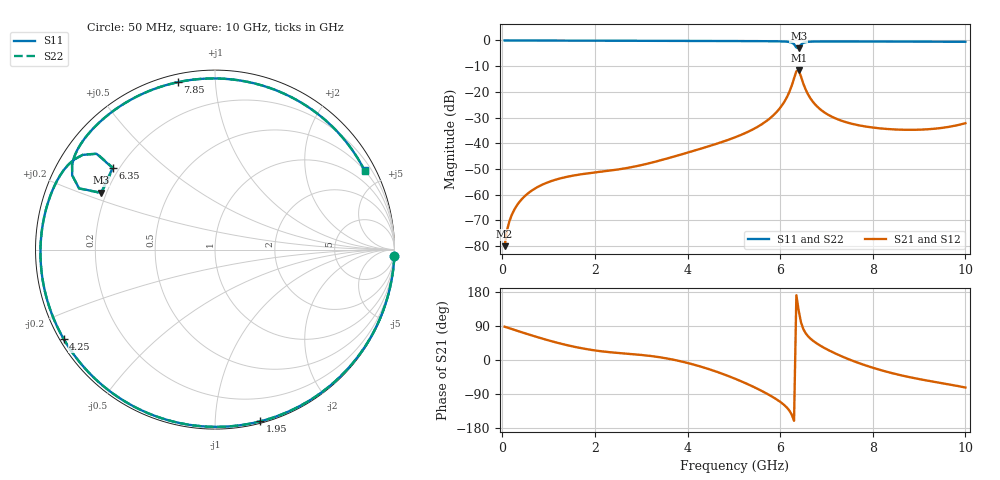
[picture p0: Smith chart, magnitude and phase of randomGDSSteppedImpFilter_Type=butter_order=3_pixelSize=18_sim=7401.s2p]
! freq	dB(S11)	phase(S11)	dB(S12)	phase(S12)
!  dB(S21)	phase(S21)	dB(S22)	phase(S22)
!S-par simulation data
#  GHz  S  DB  R 50
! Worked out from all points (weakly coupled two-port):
!   200 points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, 50 MHz to 10 GHz, reference 50 ohm
!   highest |S21| = -11.62 dB at 6.4 GHz (marker M1); lowest = -80.1 dB at 50 MHz (marker M2)
!   lowest |S11| = -3.0 dB at 6.4 GHz (marker M3), VSWR 5.88, Z = 8.97 + j11.4 ohm
!   |S11| at or under -10 dB: nowhere
!   |S22| runs from -3.0 to 0.0 dB; largest |S21 - S12| = 0
!   S11 on the Smith chart (normalised r, x): 50 MHz: 0, -56; 1.95 GHz: 0.01, -1.30; 4.25 GHz: 0.01, -0.27; 6.35 GHz: 0.18, +0.34; 7.85 GHz: 0.04, +0.80; 10 GHz: 0.50, +3.97
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0.05  -0.00 -2.0  -80.09 87.9  -80.09 87.9  -0.00 -2.0
0.1  -0.00 -4.1  -74.08 85.9  -74.08 85.9  -0.00 -4.1
0.2  -0.01 -8.1  -68.11 81.9  -68.11 81.9  -0.01 -8.1
0.5  -0.03 -20.1  -60.38 70.1  -60.38 70.1  -0.03 -20.1
1  -0.05 -39.8  -55.12 51.7  -55.12 51.7  -0.05 -39.8
1.75  -0.08 -68.0  -51.98 30.2  -51.98 30.2  -0.08 -68.0
1.95  -0.09 -75.2  -51.51 26.1  -51.51 26.1  -0.09 -75.2
2.65  -0.12 -99.3  -49.80 17.0  -49.80 17.0  -0.12 -99.3
3.4  -0.15 -123.5  -46.74 7.2  -46.74 7.2  -0.15 -123.6
4.25  -0.18 -149.5  -42.34 -16.1  -42.34 -16.1  -0.18 -149.5
5.05  -0.23 -173.4  -37.54 -50.6  -37.54 -50.6  -0.23 -173.4
5.95  -0.33 158.3  -27.32 -106.1  -27.32 -106.1  -0.34 158.2
6.15  -0.49 150.1  -21.95 -126.2  -21.95 -126.2  -0.49 150.1
6.35  -2.74 141.4  -11.98 171.0  -11.98 171.0  -2.76 141.3
6.4  -2.99 153.5  -11.62 130.4  -11.62 130.4  -3.01 153.5
6.5  -0.94 152.5  -16.80 81.7  -16.80 81.7  -0.95 152.5
6.7  -0.44 142.1  -23.71 51.7  -23.71 51.7  -0.44 142.1
7.15  -0.37 125.9  -29.98 19.6  -29.98 19.6  -0.37 125.9
7.85  -0.40 102.5  -33.52 -14.5  -33.52 -14.5  -0.40 102.4
8.35  -0.42 85.5  -34.52 -32.6  -34.52 -32.6  -0.42 85.4
9.15  -0.45 57.7  -34.62 -53.8  -34.62 -53.8  -0.45 57.6
10  -0.51 27.9  -32.22 -72.7  -32.22 -72.7  -0.51 27.8
